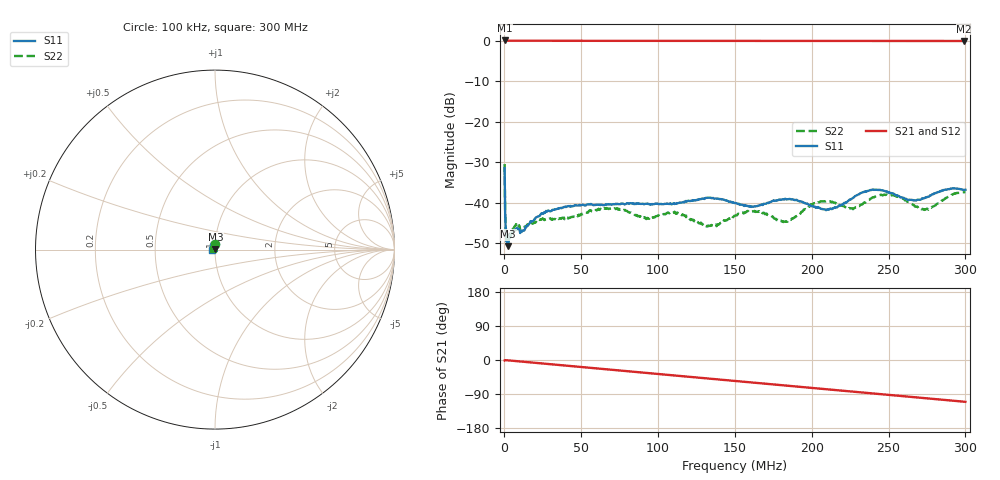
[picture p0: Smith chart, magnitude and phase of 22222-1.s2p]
#  HZ  S  DB  R  50.00
! Rohde & Schwarz Vector Network Analyzer
! Rohde-Schwarz,ZND-2Port,1328517092102334,3.45
! Created: UTC 3/30/2026, 5:19:58 AM
! freq[Hz]  db:S11  ang:S11  db:S21  ang:S21  db:S12  ang:S12  db:S22  ang:S22
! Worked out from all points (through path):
!   801 points, 100 kHz to 300 MHz, reference 50 ohm
!   highest |S21| = 0.02 dB at 100 kHz (marker M1); lowest = -0.1 dB at 299.3 MHz (marker M2)
!   group delay of S21, straight-line fit = 1.02 ns
!   lowest |S11| = -50.7 dB at 2.349 MHz (marker M3), VSWR 1.01, Z = 50.2 + j0.163 ohm
!   |S11| at or under -10 dB: start of sweep to end of sweep
!   |S22| runs from -49.1 to -30.5 dB; largest |S21 - S12| = 0.002
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100000  -31.49 100.0  0.02 -1.3  0.03 -1.4  -30.48 91.9
1974375  -49.70 36.0  -0.03 -0.9  -0.02 -0.9  -48.43 28.4
2349250  -50.74 34.0  -0.02 -1.0  -0.02 -1.0  -49.07 23.5
7972375  -46.62 10.1  -0.04 -3.0  -0.04 -3.0  -45.54 0.6
1.172112e7  -46.85 10.8  -0.04 -4.4  -0.04 -4.4  -46.48 5.3
2.7091e7  -42.04 3.9  -0.06 -10.1  -0.06 -10.1  -44.16 3.1
5.033325e7  -40.59 -9.2  -0.07 -18.6  -0.07 -18.6  -42.76 -8.2
6.570312e7  -40.51 -9.6  -0.07 -24.3  -0.07 -24.3  -41.36 -7.9
1.001916e8  -40.34 -46.6  -0.08 -37.0  -0.08 -37.0  -43.26 -53.6
1.121876e8  -40.10 -56.4  -0.08 -41.4  -0.08 -41.4  -42.75 -67.7
1.32056e8  -38.78 -51.2  -0.08 -48.7  -0.08 -48.7  -45.86 -65.4
1.5005e8  -40.08 -60.1  -0.09 -55.3  -0.09 -55.3  -43.24 -72.3
1.657948e8  -40.63 -66.1  -0.09 -61.1  -0.09 -61.1  -42.11 -66.6
1.826641e8  -39.03 -79.9  -0.09 -67.3  -0.09 -67.3  -44.68 -82.1
2.002832e8  -40.81 -107.2  -0.09 -73.8  -0.09 -73.8  -40.52 -106.6
2.119044e8  -41.49 -123.9  -0.10 -78.0  -0.10 -78.0  -39.73 -112.9
2.265245e8  -38.93 -128.1  -0.10 -83.4  -0.10 -83.4  -41.52 -146.0
2.385205e8  -36.91 -134.7  -0.10 -87.8  -0.10 -87.8  -39.01 -172.1
2.501416e8  -37.42 -143.9  -0.10 -92.1  -0.10 -92.1  -38.12 -169.5
2.745085e8  -38.71 -148.0  -0.11 -101.0  -0.11 -101.0  -41.61 178.6
2.992502e8  -36.87 -169.7  -0.11 -110.1  -0.11 -110.1  -37.42 168.4
3e8  -36.81 -171.0  -0.11 -110.4  -0.11 -110.4  -37.46 169.8
